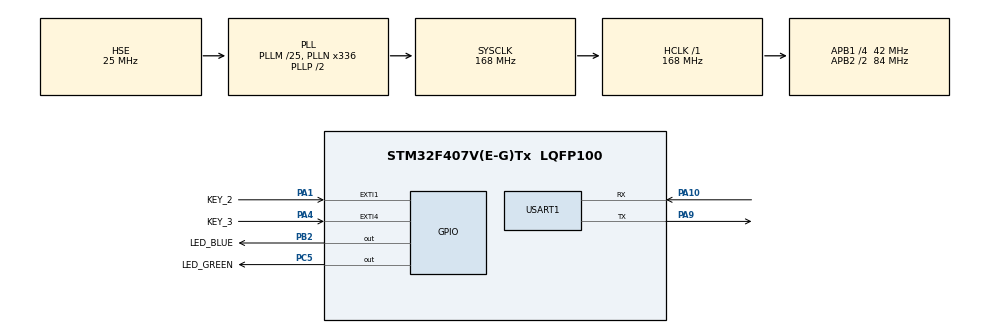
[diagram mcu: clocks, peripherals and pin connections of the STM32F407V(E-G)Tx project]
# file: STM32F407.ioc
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Mcu.Family=STM32F4
Mcu.Name=STM32F407V(E-G)Tx
Mcu.Package=LQFP100
NVIC.EXTI1_IRQn=true\:0\:0\:false\:false\:true\:true\:true\:true
NVIC.EXTI4_IRQn=true\:0\:0\:false\:false\:true\:true\:true\:true
NVIC.PriorityGroup=NVIC_PRIORITYGROUP_4
NVIC.RTC_Alarm_IRQn=true\:0\:0\:false\:false\:true\:true\:true\:true
PA0-WKUP.Mode=SYS_WakeUp0
PA0-WKUP.Signal=SYS_WKUP
PA1.GPIO_Label=KEY_2
PA1.GPIO_ModeDefaultEXTI=GPIO_MODE_IT_FALLING
PA1.GPIO_PuPd=GPIO_PULLUP
PA1.Signal=GPXTI1
PA10.Mode=Asynchronous
PA10.Signal=USART1_RX
PA13.Mode=Serial_Wire
PA13.Signal=SYS_JTMS-SWDIO
PA14.Mode=Serial_Wire
PA14.Signal=SYS_JTCK-SWCLK
PA4.GPIO_Label=KEY_3
PA4.GPIO_ModeDefaultEXTI=GPIO_MODE_IT_FALLING
PA4.GPIO_PuPd=GPIO_PULLUP
PA4.Signal=GPXTI4
PA9.Mode=Asynchronous
PA9.Signal=USART1_TX
PB2.GPIO_Label=LED_BLUE
PB2.Signal=GPIO_Output
PB8.Signal=CAN1_RX
PB9.Signal=CAN1_TX
PC14-OSC32_IN.Mode=LSE-External-Oscillator
PC14-OSC32_IN.Signal=RCC_OSC32_IN
PC15-OSC32_OUT.Mode=LSE-External-Oscillator
PC15-OSC32_OUT.Signal=RCC_OSC32_OUT
PC5.GPIO_Label=LED_GREEN
PC5.Signal=GPIO_Output
PH0-OSC_IN.Mode=HSE-External-Oscillator
PH0-OSC_IN.Signal=RCC_OSC_IN
PH1-OSC_OUT.Mode=HSE-External-Oscillator
PH1-OSC_OUT.Signal=RCC_OSC_OUT
ProjectManager.HeapSize=0x200
ProjectManager.StackSize=0x1000
ProjectManager.TargetToolchain=MDK-ARM V5.32
RCC.48MHZClocksFreq_Value=84000000
RCC.AHBFreq_Value=168000000
RCC.APB1CLKDivider=RCC_HCLK_DIV4
RCC.APB1Freq_Value=42000000
RCC.APB1TimFreq_Value=84000000
RCC.APB2CLKDivider=RCC_HCLK_DIV2
RCC.APB2Freq_Value=84000000
RCC.APB2TimFreq_Value=168000000
RCC.CortexFreq_Value=168000000
RCC.HCLKFreq_Value=168000000
RCC.HSE_VALUE=25000000
RCC.HSI_VALUE=16000000
RCC.PLLM=25
RCC.PLLN=336
RCC.PLLSourceVirtual=RCC_PLLSOURCE_HSE
RCC.RCC_RTC_Clock_SourceVirtual=RCC_RTCCLKSOURCE_LSE
RCC.RCC_RTC_Clock_Source_FROM_HSE=RCC_RTCCLKSOURCE_HSE_DIV25
RCC.SYSCLKFreq_VALUE=168000000
RCC.SYSCLKSource=RCC_SYSCLKSOURCE_PLLCLK
RCC.VCOOutputFreq_Value=336000000
RTC.Alarm=RTC_ALARM_A
RTC.Alarm_B=RTC_ALARM_B
RTC.Format=RTC_FORMAT_BCD
USART1.VirtualMode=VM_ASYNC
VP_RTC_VS_RTC_Activate.Mode=RTC_Enabled
VP_RTC_VS_RTC_Alarm_A_Intern.Mode=Alarm A
VP_RTC_VS_RTC_Alarm_B_Intern.Mode=Alarm B
VP_RTC_VS_RTC_Calendar.Mode=RTC_Calendar
board=custom

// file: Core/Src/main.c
/* USER CODE BEGIN Header */
/***********************************************************************************************************************************
 ** 【代码编写】  魔女开发板团队
 ** 【淘    宝】  魔女开发板       https://demoboard.taobao.com
 ***********************************************************************************************************************************
 ** 【实验名称】  STM32F407 低功耗模式 —— 停止模式 Stop
 **
 ** 【适用平台】  STM32F407 + keil5 + HAL库
 **
 ** 【 CubeMX 】  1- 使用CubeMX开启RTC（LSE时钟），用于闹钟唤醒；
 **               2- 开启USART1，用于调试打印、时间配置；
 **               3- 配置按键GPIO为输入/中断模式，用于触发进入低功耗；
 **               4- 系统时钟配置为外部HSE+PLL，最高168MHz；
 **
 ** 【功能说明】  本工程完整实现 STM32 三种低功耗模式：
 **               1- Sleep 睡眠模式：CPU暂停，外设运行，任意中断可唤醒；
 **               2- Stop  停机模式：CPU/外设停止，内存保持，RTC/EXTI唤醒；
 **               3- Standby待机模式：内核断电，内存丢失，RTC/PA0唤醒，唤醒后复位；
 **
 ** 【唤醒方式】  Sleep：任意中断（GPIO、UART、RTC、Systick等）
 **               Stop：EXTI外部中断、RTC闹钟事件
 **               Standby：RTC闹钟、WAKEUP引脚（PA0上升沿）
 **
 ** 【代码使用】  1- RTC日历配置：支持串口发送时间字符串自动校准；
 **               2- RTC闹钟A/B：闹钟A固定时间触发，闹钟B延时N秒触发；
 **               3- 低功耗函数：EnterSleepMode、EnterStopMode、EnterStandbyMode；
 **               4- 唤醒判断：通过 PWR_FLAG_SB 标志判断是否从Standby唤醒；
 **               5- 按键功能：KEY2进入Sleep，KEY3进入Standby；
 **
 ** 【划 重 点】  1- Sleep 模式唤醒最快，功耗最高，可被任何中断唤醒；
 **               2- Stop  模式唤醒后必须重新配置系统时钟，否则时钟异常；
 **               3- Standby模式功耗最低，唤醒后程序复位从头执行；
 **               4- 进入Standby前必须清除唤醒标志，否则无法正常进入；
 **               5- Standby唤醒 = 系统复位，不执行中断回调，直接跑main；
 **               6- IWDG/NRST均为复位，不属于低功耗唤醒；
 **
 *******************************************************************************/
/* USER CODE END Header */
#include "main.h"
#include "rtc.h"
#include "usart.h"
#include "gpio.h"

/* USER CODE BEGIN Includes */

#include "bsp_UART.h"            // 串口通信底层驱动文件; 已重写好初始化、收发，调用函数即可使用串口

/* USER CODE END Includes */

/* USER CODE BEGIN PV */

uint8_t wakeUpFlag = 0;    // 唤醒标志; 0-无任务、1-已唤醒，按需执行任务

/* USER CODE END PV */

void SystemClock_Config(void);

/* USER CODE BEGIN 0 */

/******************************************************************************
 * 函  数： RTC_SetNewData
 * 功  能： 设置RTC的时间和日期（严格遵循“先时间后日期”的操作顺序）
 * 说  明： 1. 操作前需解锁后备域；
 *          2. CubeMX默认以2000年为RTC年份基准，需做偏移处理；
 *          3. 中国不实行夏令时，相关参数固定为NONE；
 * 参  数： uint16_t  year    实际年份（2000-2127，超出范围则报错）
 *          uint8_t   month   月份（1-12）
 *          uint8_t   date    日期（1-31）
 *          uint8_t   hours   小时（0-23，24小时制）
 *          uint8_t   minutes 分钟（0-59）
 *          uint8_t   seconds 秒数（0-59）
 *          uint8_t   weekday 星期（1=周一，2=周二，…，7=周日）
 * 返回值： 无
 ******************************************************************************/
void RTC_SetNewData(uint16_t year, uint8_t month, uint8_t date, uint8_t hours, uint8_t minutes, uint8_t seconds, uint8_t weekday)
{
    /* 定义RTC时间、日期结构体 */
    RTC_TimeTypeDef sTime = {0};                                     // 时间结构体 (时/分/秒)
    RTC_DateTypeDef sDate = {0};                                     // 日期结构体 (年/月/日/星期)
    /* 检查参数合法性 */
    if ((year < 2000) || (year > 2127) || (month < 1) || (month > 12) || (date < 1) || (date > 31) ||
            (hours > 23) || (minutes > 59) || (seconds > 59) || (weekday < 1) || (weekday > 7))
    {
        printf("日历配置函数：参数非法，退出本次设置。\r\n");        // 打印 非法参数
        return;                                                      // 非法参数直接退出，不执行后续配置
    }
    /* 配置时间; RTC强制要求：先写时间，后写日期 */
    sTime.Hours = hours;                                             // 时; 注意小时的格式，检查MX_RTC_Init()函数里的HourFormat参数，有24小时、12小时两种格式
    sTime.Minutes = minutes;                                         // 分
    sTime.Seconds = seconds;                                         // 秒
    sTime.DayLightSaving = RTC_DAYLIGHTSAVING_NONE;                  // 关闭夏令时。中国不实行夏令时，因此固定设置为NONE
    sTime.StoreOperation = RTC_STOREOPERATION_RESET;                 // 夏令时配套参数，固定为RESET
    if (HAL_RTC_SetTime(&hrtc, &sTime, RTC_FORMAT_BIN) != HAL_OK)    // 设置时间; RTC要求：先设置时间（必须顺序）
    {
        printf("RTC时间写入失败! \n");
        return;                                                      // 直接退出，不执行后续配置
    }
    /* 配置日期; 必须在时间写入后执行 */
    sDate.WeekDay = weekday;                                         // 星期：1-一、2-二、3-三、4-四、5-五、6-六、7-日
    sDate.Month = month;                                             // 月
    sDate.Date = date;                                               // 日
    sDate.Year = year - 2000;                                        // 年份偏移; CubeMX默认2000为基准, 需减去2000
    if (HAL_RTC_SetDate(&hrtc, &sDate, RTC_FORMAT_BIN) != HAL_OK)    // RTC要求：后设置日期（必须顺序）
    {
        printf("RTC日期写入失败! \n");
        return;                                                      // 直接退出，不执行后续配置
    }
    /* 写入标记值到备份寄存器，标记已配置过日历 */
    HAL_RTCEx_BKUPWrite(&hrtc, RTC_BKP_DR1, 0x01);                   // 备份寄存器1写入标志值。用于下次上电时判断是否已设置日历; 网上很多示例会用类似0x5A5A的值，原理是一样的，但0x5A5A容易被误解有特殊作用
    /* 打印提示 */
    printf("\nRTC日历数据写入成功！\r\n");                           // 打印 提示
}

/******************************************************************************
 * 函  数： RTC_ParseTimeString
 * 功  能： 解析固定格式的时间字符串，提取有效数据并更新RTC时间
 * 格  式： "YYYY年MM月DD日HH时MM分SS秒星期X"（如：2026年02月04日19时11分30秒星期三）
 * 约  定： 1. 字符串无空格、无换行，字段顺序/单位不可修改；
 *          2. 年4位、月/日/时/分/秒各2位，星期为中文单字（一/二/…/日）；
 *          3. 星期映射：一=1、二=2、三=3、四=4、五=5、六=6、日=7；
 * 参  数： const char* timeStr  待解析的时间字符串（串口接收的原始数据）
 * 返回值： 无
 * 异常处理：空指针/格式错误/星期非法 → 触发提示并退出，不执行更新
 ******************************************************************************/
void RTC_ParseTimeString(const char* timeStr)
{
    /* 空指针校验，避免程序崩溃 */
    if (timeStr == NULL)
    {
        printf("解释失败：输入字符串为空！ \r\n");      // 空字符串直接退出
        return;
    }
    /* 定义变量存储解析结果 */
    uint16_t year = 0;        // 年（4位，如2026）
    uint8_t month = 0;        // 月（2位，01-12）
    uint8_t date = 0;         // 日（2位，01-31）
    uint8_t hours = 0;        // 时（2位，00-23）
    uint8_t minutes = 0;      // 分（2位，00-59）
    uint8_t seconds = 0;      // 秒（2位，00-59）
    uint8_t weekday = 0;      // 星期（1-7，对应一-日）
    char weekStr[2] = {0};    // 存储星期中文单字
    /* 按固定格式解析字符串 */
    // %4hu：匹配4位无符号短整型（对应uint16_t）
    // %2hhu：匹配2位无符号字符（对应uint8_t）
    // %2s：匹配星期中文单字（适配GBK/UTF-8编码）
    int parseRet = sscanf(timeStr, "%4hu年%2hhu月%2hhu日%2hhu时%2hhu分%2hhu秒星期%2s",
                          &year, &month, &date, &hours, &minutes, &seconds, weekStr);
    /* 解析结果校验（正常应提取7个字段，否则格式不匹配） */
    if (parseRet != 7)
    {
        printf("解释失败：字符串格式错误! 请按示例格式发送：\n");  // 格式不匹配，进入错误处理
        printf("2026年03月05日15时45分00秒星期四 \n\n");           // 字符串格式，必须严格匹配
        return;
    }
    /* 中文星期转换为数字(匹配RTC_SetNewData参数) */
    if (strcmp(weekStr, "一") == 0)    weekday = 1;                // 中文“一”对应RTC星期1（周一）
    else if (strcmp(weekStr, "二") == 0)    weekday = 2;           // 中文“二”对应RTC星期2（周二）
    else if (strcmp(weekStr, "三") == 0)    weekday = 3;           // 中文“三”对应RTC星期3（周三）
    else if (strcmp(weekStr, "四") == 0)    weekday = 4;           // 中文“四”对应RTC星期4（周四）
    else if (strcmp(weekStr, "五") == 0)    weekday = 5;           // 中文“五”对应RTC星期5（周五）
    else if (strcmp(weekStr, "六") == 0)    weekday = 6;           // 中文“六”对应RTC星期6（周六）
    else if (strcmp(weekStr, "日") == 0)    weekday = 7;           // 中文“日”对应RTC星期7（周日）
    else                                                           // 未知星期字符，解析失败
    {
        printf("\n解释失败，星期格式错误！\r\n ");
        return;
    }
    /* 解析成功，调用函数更新RTC时间 */
    RTC_SetNewData(year, month, date, hours, minutes, seconds, weekday);
}

/******************************************************************************
 * 函  数： RTC_SetAlarmA
 * 功  能： 配置 RTC 闹钟A
 *          指定具体时间触发 (如 6:34:00); 适合场景：定时唤醒等。
 * 参  数： uint8_t hours  闹钟小时 0~23
 *          uint8_t mins   闹钟分钟 0~59
 *          uint8_t secs   闹钟秒数 0~59
 * 返回值： HAL_StatusTypeDef  HAL状态
 * 备  注： 最后修改_2026年03月17日
 ******************************************************************************/
HAL_StatusTypeDef RTC_SetAlarmA(uint8_t hours, uint8_t mins, uint8_t secs)
{
    /* 声明结构体 */
    RTC_AlarmTypeDef sAlarm = {0};                                                   // 闹钟配置结构体
    /* 关闭闹钟A */
    HAL_RTC_DeactivateAlarm(&hrtc, RTC_ALARM_A);                                     // 关闭闹钟; 必须先关闭再配置
    /* 配置闹钟A参数 */
    sAlarm.AlarmTime.Hours = hours;                                                  // 闹钟 小时
    sAlarm.AlarmTime.Minutes = mins;                                                 // 闹钟 分钟
    sAlarm.AlarmTime.Seconds = secs;                                                 // 闹钟 秒数
    sAlarm.AlarmTime.DayLightSaving = RTC_DAYLIGHTSAVING_NONE;                       // 无夏令时(中国不实行夏令时)
    sAlarm.AlarmTime.StoreOperation = RTC_STOREOPERATION_RESET;                      // 复位操作(固定此值即可)
    sAlarm.AlarmDateWeekDaySel = RTC_ALARMDATEWEEKDAYSEL_DATE;                       // 日期/星期模式切换。DATE-日期、WEEK-星期
    sAlarm.AlarmDateWeekDay = 1;                                                     // (被屏蔽了, 此值无效）sAlarm.AlarmDateWeekDay 是一个二义性字段，它的含义完全由 sAlarm.AlarmDateWeekDaySel 决定; 指每周/每月的是第几天
    sAlarm.AlarmMask =  RTC_ALARMMASK_DATEWEEKDAY ;                                  // 闹钟屏蔽位: 屏蔽日期/星期，只匹配时分秒，即每天触发
    sAlarm.Alarm = RTC_ALARM_A;                                                      // 配置的是: 闹钟A
    /* 设置闹钟、开启中断 */
    if (HAL_RTC_SetAlarm_IT(&hrtc, &sAlarm, RTC_FORMAT_BIN) != HAL_OK)               // 设置闹钟A并开启中断，失败则执行错误处理
    {
        printf("闹钟A 设置失败！ \r\n");                                             // 打印 错误提示
        return HAL_ERROR;                                                            // 返回 错误标志
    }
    else
    {
        printf("闹钟A 设置成功！ 触发时间：%02d:%02d:%02d \n", hours, mins, secs);   // 打印 闹钟提示
        return HAL_OK;                                                               // 返回 正常标志
    }
}

/******************************************************************************
 * 函  数： RTC_SetAlarmB
 * 功  能： 配置 RTC 闹钟B
 *          相对时间闹钟（当前时间N秒后触发）
 * 参  数： uint32_t secs: 相对当前时间的秒数 0~2592000（最大30天）
 * 返回值： HAL_StatusTypeDef  HAL状态
 * 备  注： 最后修改_2026年03月17日
 ******************************************************************************/
HAL_StatusTypeDef  RTC_SetAlarmB(uint32_t secs)
{
    /* 声明结构体  */
    RTC_TimeTypeDef sTime = {0};                                             // 时间结构体（时/分/秒）
    RTC_DateTypeDef sDate = {0};                                             // 日期结构体（年/月/日/周）
    RTC_AlarmTypeDef sAlarm = {0};                                           // 闹钟配置结构体
    /* 关闭闹钟B */
    HAL_RTC_DeactivateAlarm(&hrtc, RTC_ALARM_B);                             // 关闭闹钟; 必须先关闭再配置
    /* 获取当前RTC时间和日期 */
    HAL_RTC_GetTime(&hrtc, &sTime, RTC_FORMAT_BIN);                          // 读取当前RTC的时间; 必须读日期，否则时间锁存不更新
    HAL_RTC_GetDate(&hrtc, &sDate, RTC_FORMAT_BIN);                          // 读取当前RTC的日期; 必须读日期，否则时间锁存不更新
    /* 计算目标闹钟时间（时间戳转换，处理时分秒进位）*/
    uint32_t nowSecs = sTime.Hours * 3600 + sTime.Minutes * 60 + sTime.Seconds;
    uint32_t alarm_secs = nowSecs + secs;
    uint8_t hh = (alarm_secs / 3600) % 24;
    uint8_t mm = (alarm_secs % 3600) / 60;
    uint8_t ss = alarm_secs % 60;
    /* 配置闹钟B参数 */
    sAlarm.AlarmTime.Hours = hh;                                             // 闹钟 小时
    sAlarm.AlarmTime.Minutes = mm;                                           // 闹钟 分钟
    sAlarm.AlarmTime.Seconds = ss;                                           // 闹钟 秒数
    sAlarm.AlarmTime.DayLightSaving = RTC_DAYLIGHTSAVING_NONE;               // 无夏令时(中国不实行夏令时)
    sAlarm.AlarmTime.StoreOperation = RTC_STOREOPERATION_RESET;              // 复位操作(固定此值即可)
    sAlarm.AlarmDateWeekDaySel = RTC_ALARMDATEWEEKDAYSEL_DATE;               // 选择日期/星期模式;新手最易混淆点。DATE=每月中的第几天、WEEKDAY=每星期中的第几天。
    sAlarm.AlarmDateWeekDay = sDate.Date;                                    // (被屏蔽了）sAlarm.AlarmDateWeekDay 是一个二义性字段，它的含义完全由 sAlarm.AlarmDateWeekDaySel 决定; 指每周/每月的是第几天
    sAlarm.AlarmMask = RTC_ALARMMASK_DATEWEEKDAY ;                           // 闹钟屏蔽位; 屏蔽日期/星期，只匹配时分秒，即每天触发
    sAlarm.Alarm = RTC_ALARM_B;                                              // 配置的是: 闹钟B
    /* 设置闹钟并开启中断 */
    if (HAL_RTC_SetAlarm_IT(&hrtc, &sAlarm, RTC_FORMAT_BIN) != HAL_OK)       // 设置闹钟B并开启中断，失败则执行错误处理
    {
        printf("闹钟B 设置失败！ \r\n");                                     // 打印 错误提示
        return HAL_ERROR;                                                    // 返回 错误标志
    }
    else
    {
        printf("闹钟B 设置成功！ %2d秒后触发。 \r\n", secs);                 // 打印 触发时间
        return HAL_OK;                                                       // 返回 正常标志
    }
}

/******************************************************************************
 * 函  数： HAL_RTC_AlarmAEventCallback
 * 功  能： RTC 闹钟 A 中断回调函数
 * 说  明： 1. 闹钟B触发时自动调用
 *          2. 函数名固定，必须不带 Ex (与闹钟B中断回调函数不同)
 * 参  数： hrtc：RTC句柄
 * 返回值： 无
 * 备  注： 最后修改_2026年03月17日
 ******************************************************************************/
void HAL_RTC_AlarmAEventCallback(RTC_HandleTypeDef *hrtc)
{
    /* 执行闹钟任务操作 */
    printf("闹钟A 触发！！ \r\n");

    /* 如需每天相同时间执行，无需重新设置，因为AlarmA的配置是每天都能触发 */
    // RTC_SetAlarmA(6,30,00);
}

/******************************************************************************
 * 函  数： HAL_RTCEx_AlarmBEventCallback
 * 功  能： RTC 闹钟B 中断回调函数
 * 说  明： 1. 闹钟B触发时自动调用
 *          2. 函数名固定，闹钟B必须带 Ex (与闹钟A中断回调函数不同)
 *          3. 如需循环触发，必须重新执行 RTC_SetAlarmB()
 * 参  数： hrtc：RTC句柄
 * 返回值： 无
 * 备  注： 最后修改_2026年03月17日
 ******************************************************************************/
void HAL_RTCEx_AlarmBEventCallback(RTC_HandleTypeDef *hrtc)
{
    /* Stop被唤醒后：重新配置系统时钟，这一步至关重要！ */
    // 调用 CubeMX 生成的系统时钟配置函数，恢复为 168MHz 主频 */
    SystemClock_Config();                                                       // 配置系统时钟，重新运行于168MHz

    /* 闹钟触发提示 */
    printf("闹钟B 中断触发！！ \r\n");                                          // 打印提示

    /* 读取 RTC 时间日期 */
    RTC_TimeTypeDef time = { 0 };                                               // 时间 时-分-秒
    RTC_DateTypeDef data = { 0 };                                               // 日期 年-月-日
    HAL_RTC_GetTime(hrtc, &time, RTC_FORMAT_BIN);                               // 读取时间数据; 必须先读时间后读日期; 写操作时，也必须先写时间后写日期，否则数据可能错乱
    HAL_RTC_GetDate(hrtc, &data, RTC_FORMAT_BIN);                               // 读取日期数据; 必须先读时间后读日期; 写操作时，也必须先写时间后写日期，否则数据可能错乱

    /* 打印 时间日期，便于观察调试 */
    printf("当前时间： ");
    printf("%04d年%02d月%02d日  ", 2000 + data.Year, data.Month, data.Date);    // 打印 日期
    printf("%02d:%02d:%02d  \r\n", time.Hours, time.Minutes, time.Seconds);     // 打印 时间

    /* 【关键】设置唤醒标志，通知主循环执行任务 */
    wakeUpFlag = 1;                                                             // 设置唤醒标志，通知主循环执行任务

}

/******************************************************************************
 * 函  数： EnterSleepMode
 * 功  能： 进入 SLEEP 低功耗模式
 * 说  明： 1. CPU 暂停运行
 *          2. 外设、时钟、内存、寄存器数据全部保持
 *          3. 可被任意中断唤醒（RTC、UART、GPIO、EXTI 等）
 *          4. 唤醒后先执行中断服务函数，再继续执行休眠后的代码
 *          5. 无法进入休眠时，优先检查是否未关闭 SysTick 等频繁中断
 * 参  数： 无
 * 返回值： 无
 * 备  注： 最后修改_2026年03月24日
 ******************************************************************************/
void EnterSleepMode(void)
{
    // 打印提示
    printf("\r\n\r\n");                                                  // 打印 换行
    printf("① 即将进入 SLeep 模式！ ========== \r\n");                   // 打印 提示

    /* 配置RTC闹钟 5秒后触发 */
    RTC_SetAlarmB(5);                                                    // 设置RTC的闹钟B, 5秒后触发一次

    /* 进入前：关闭可能频繁唤醒的中断源 */
    HAL_SuspendTick();                                                   // 关闭Systick中断。注意，SLEEP会被任何一个中断唤醒，如Systick中断、UART收发中断、CAN收发中断等等

    /* 进入 SLEEP 模式：CPU暂停在此处 */
    HAL_PWR_EnterSLEEPMode(PWR_MAINREGULATOR_ON, PWR_SLEEPENTRY_WFI);    // 能被所有中断唤醒，包括Systick、UART、RTC闹钟等; 唤醒后，先进入所唤醒的中断，然后继续执行下一行

    /* 唤醒后：恢复中断源 */
    HAL_ResumeTick();                                                    // 恢复Systick中断

    // 打印提示
    printf("② 已退出 SLEEP 模式！\r\n");                                 // 打印 提示 退出SLEEP模式
}

/******************************************************************************
 * 函  数： EnterStopMode
 * 功  能： 进入 STOP 低功耗模式
 * 说  明： 1. CPU、外设停止工作，主时钟关闭
 *          2. 内存/寄存器数据保持
 *          3. 可被任意EXTI中断或RTC事件唤醒
 *          4. 唤醒后，系统时钟工作在HSI(8MHz), 必须重新配置系统时钟（HSE/PLL），否则后续代码无法正常运行
 *          5. 无需重新初始化外设（UART、SPI等）
 *          6. 特别地注意：
 *             按芯片手册所描述，STOP模式是不能被外设中断唤醒的，如systick、UART、SPI等。
 *             但是有一个特殊情况：
 *             如果进入STOP模式时SysTick中断是使能的，并且DBG_STOP位在DBGMCU_CR中被置位(启用了Stop模式调试)，系统会立即从 STOP 模式唤醒。
 *             至于DBG_STOP为什么会被置位？当连接着调试器时，可能会自动或间接地改变DBGMCU_CR中DBG_STOP位的状态。
 *             这是WFI指令的工作机制 + 调试模式下的硬件限制共同作用的结果。
 *             因此，为了避免意外情况，进入低功耗前关闭 SysTick 是最佳选择。
 * 参  数： 无
 * 返回值： 无
 * 备  注： 最后修改_2026年03月24日
 ******************************************************************************/
void EnterStopMode(void)
{
    // 打印提示
    printf("\r\n\r\n");                                                  // 打印 换行
    printf("① 即将进入 STOP 模式！========== \r\n");                     // 打印 提示

    /* 配置RTC闹钟 5秒后触发 */
    RTC_SetAlarmB(5);                                                    // 设置RTC的闹钟B, 5秒后触发一次

    /* 进入前：关闭可能频繁唤醒的中断源 */
    HAL_SuspendTick();                                                   // 关闭SysTick中断，避免意外唤醒

    /* 进入STOP模式：CPU暂停在此处 */
    // 执行完此函数后，系统时钟（HSE/PLL）已停止，MCU处于低功耗状态。
    // 被中断唤醒后，程序会跳进中断函数执行，再回到此函数继续执行下一行。
    HAL_PWR_EnterSTOPMode(PWR_LOWPOWERREGULATOR_ON, PWR_STOPENTRY_WFI);  // 进入STOP模式; 参数：PWR_LOWPOWERREGULATOR_ON  更低的静态功耗，PWR_STOPENTRY_WFI 等待中断唤醒

    /* 唤醒后：重新配置系统时钟，这一步至关重要！ */
    SystemClock_Config();                                                // 调用CubeMX生成的系统时钟配置函数，恢复为168MHz主频

    /* 唤醒后：恢复中断源 */
    HAL_ResumeTick();                                                    // 恢复Systick中断

    // 打印提示
    printf("② 已退出 STOP 模式！\r\n");                                  // 打印 提示 退出STOP模式
}

/******************************************************************************
 * 函  数： EnterStandbyMode
 * 功  能： 进入 STANDBY 待机模式
 * 说  明： 1. 内核电源关闭，内存、寄存器数据丢失（备份域除外）
 *          2. 唤醒后系统复位，程序从 main 函数重新执行
 *          3. 进入前需清除 PWR 唤醒标志，否则可能无法进入
 *          4. 仅两种合法唤醒方式： RTC闹钟、 WAKEUP引脚(PA0上升沿)
 * 参  数： 无
 * 返回值： 无
 * 备  注： 最后修改_2026年03月25日
 ******************************************************************************/
void EnterStandbyMode(void)
{
    /* 打印提示 */
    printf("\r\n");                                            // 打印 换行
    printf("① 即将进入 Standby 待机模式！ \r\n");              // 打印 提示

    /* 开启 PWR 时钟 */
    __HAL_RCC_PWR_CLK_ENABLE();                                //开启PWR时钟; (新版本HAL库不再需要手动开启)

    /* 清除相关标志 */
    __HAL_PWR_CLEAR_FLAG(PWR_FLAG_WU);                         // 清除唤醒标志 (关键)
    __HAL_PWR_CLEAR_FLAG(PWR_FLAG_SB);                         // 清除待机标志 (建议)

    /* 配置唤醒源 */
    RTC_SetAlarmB(5);                                          // 设置RTC的闹钟B, 5秒后触发一次
    HAL_PWR_EnableWakeUpPin(PWR_WAKEUP_PIN1);                  // 使能WAKEUP引脚 (PA0上升沿触发）

    /* 进入 STANDBY 待机模式 */
    HAL_PWR_EnterSTANDBYMode();                                // 进入 Standby 模式

    /* 注意：以下代码永远不会被执行。唤醒后是复位重启 */
    printf("② 此行永远不会执行！\r\n");
}

/* USER CODE END 0 */

int main(void)
{
    /* USER CODE BEGIN 1 */

    /* 说明：
     * 1. 不要删除CubeMX生成的注释行（形如 USER CODE BEGIN/END），这些注释用于代码重新生成时的定位
     * 2. 所有用户自定义代码必须写在对应的BEGIN与END注释行之间，否则重新生成时会被覆盖
     * 3. 主要初始化函数说明：
     *    - HAL_Init()            初始化HAL库，配置中断优先级、系统时基等
     *    - SystemClock_Config()  配置系统时钟
     *    - MX_GPIO_Init()        初始化GPIO引脚（仅包含推挽输出、中断触发等配置）
     *    - 外设功能引脚（如UART、SPI等）的初始化在各自的功能文件中
     */

    /* USER CODE END 1 */

    /* MCU Configuration--------------------------------------------------------*/

    /* Reset of all peripherals, Initializes the Flash interface and the Systick. */
    HAL_Init();

    /* Configure the system clock */
    SystemClock_Config();

    /* Initialize all configured peripherals */
    MX_GPIO_Init();
    MX_USART1_UART_Init();
    MX_RTC_Init();
    /* USER CODE BEGIN 2 */
    /* 用户代码，必须写在配对的BEGIN与END之间 */

    UART1_Init(115200);                           // 初始化 串口1; 已写好底层，调用h中的函数即可使用; 引脚(PA9 +PA10)、波特率-None-8-1; 如果使用CubeMX配置，请使用前述引脚，但，不要在MX上进行中断及DMA配置，否则冲突

    /* USER CODE END 2 */

    /* Infinite loop */
    while (1)
    {

        /* USER CODE BEGIN 3 */
        /* 用户代码，必须写在配对的BEGIN与END之间 */

        /** 检查是否被唤醒 **/
        if (wakeUpFlag == 1)                                                             // 唤醒
        {
            printf("③ 唤醒后执行任务...!");                                              // 执行各种任务，如, 读取温度, 电机动作 等
            wakeUpFlag = 0;                                                              // 唤醒标志 置0，等待下一次唤醒
        }
        else                                                                             // 无任务时进入睡眠，降低功耗
        {
            EnterStopMode();                                                             // 进入 STOP 停止模式
        }

        /** 检查UART1是否收到串口助手发来的数据，用于更新日期时间 **/
        if (UART1_GetRxNum())                                                            // 判断USART1是否获取到新一帧数据：函数返回的接收字节数，大于0，即为收到新一帧数据
        {
            /* 获取数据 */
            uint8_t *rxData = UART1_GetRxData();                                         // 获取数据的地址
            uint16_t rxNum = UART1_GetRxNum();                                           // 获取数据的字节数
            /* 把收到的数据，printf到串口助手观察*/
            printf("\r<<<<< USART1 收到一帧数据 \r");                                    // 提示
            printf("字节数：%d \r", rxNum);                                              // 显示字节数
            printf("ASCII : %s\r", (char *)rxData);                                      // 显示数据，以ASCII方式显示，即以字符串的方式显示
            printf("\r\r");                                                              // 显示换行
            /* 执行数据分析 */
            RTC_ParseTimeString((const char*) rxData);                                   // 解释日历时间，并更新保存
            /* 清零接收标志 */
            UART1_ClearRx();                                                             // 重要：清0接收标志，即清0接收到的字节数; 每次处理完成数据，就要调用这个函数清0
        }

        /** 每隔500ms，闪烁一次绿色LED **/
        static uint32_t lastTime_500ms = 0;                                              // 定义静态变量，用于记录上次执行这个任务的时间点(单位：毫秒)
        if (HAL_GetTick() - lastTime_500ms >= 500)                                       // 检查当前时间距离上次执行是否已经过了500ms; HAL_GetTick()是获取启动后经过的毫秒数;
        {
            /* 执行任务 */
            HAL_GPIO_TogglePin(GPIOC, GPIO_PIN_5);                                       // 执行动作。控制绿色LED引脚电平翻转(PC5); 规律地闪烁LED，方便外部观察系统是否正常运行
            /* 更新任务时间戳 */
            lastTime_500ms =   HAL_GetTick();                                            // 更新本任务最后执行的时间值
        }

        /** 每隔1000ms，读取一次日历数据，并打印 **/
        static uint32_t lastTime_1000ms = 0;                                             // 定义静态变量，用于记录上次执行这个任务的时间点(单位：毫秒)
        if (HAL_GetTick() - lastTime_1000ms >= 1000)                                     // 检查当前时间距离上次执行是否已经过了1000ms; HAL_GetTick()是获取启动后经过的毫秒数;
        {
            /* 读取数据; 重点, 必须先读时间、后读日期 否则数据错乱 */
            RTC_TimeTypeDef time = { 0 };                                                // 时间 时-分-秒
            RTC_DateTypeDef data = { 0 };                                                // 日期 年-月-日
            HAL_RTC_GetTime(&hrtc, &time, RTC_FORMAT_BIN);                               // 读取时间数据; 必须先读时间后读日期; 写操作时，也必须先写时间后写日期，否则数据可能错乱
            HAL_RTC_GetDate(&hrtc, &data, RTC_FORMAT_BIN);                               // 读取日期数据; 必须先读时间后读日期; 写操作时，也必须先写时间后写日期，否则数据可能错乱
            /* 打印数据 */
            printf("%04d年%02d月%02d日  ", 2000 + data.Year, data.Month, data.Date);     // 打印 日期
            printf("%02d:%02d:%02d  ", time.Hours, time.Minutes, time.Seconds);          // 打印 时间
            switch (data.WeekDay)                                                        // 打印 星期
            {
                case 1:
                    printf("星期一");
                    break;
                case 2:
                    printf("星期二");
                    break;
                case 3:
                    printf("星期三");
                    break;
                case 4:
                    printf("星期四");
                    break;
                case 5:
                    printf("星期五");
                    break;
                case 6:
                    printf("星期六");
                    break;
                case 7:
                    printf("星期日");
                    break;
                default:
                    printf("星期错误");
                    break;
            }
            printf("  \r\n");                                                            // 打印 换行
            /* 更新任务时间戳 */
            lastTime_1000ms = HAL_GetTick();                                             // 更新时间戳：将当前时间设为新基准，确保下一次周期准确从此时开始计算
        }

    }

    /* USER CODE END 3 */
}

void SystemClock_Config(void)
{
    RCC_OscInitTypeDef RCC_OscInitStruct = {0};
    RCC_ClkInitTypeDef RCC_ClkInitStruct = {0};

    /** Configure the main internal regulator output voltage
    */
    __HAL_RCC_PWR_CLK_ENABLE();
    __HAL_PWR_VOLTAGESCALING_CONFIG(PWR_REGULATOR_VOLTAGE_SCALE1);

    /** Initializes the RCC Oscillators according to the specified parameters
    * in the RCC_OscInitTypeDef structure.
    */
    RCC_OscInitStruct.OscillatorType = RCC_OSCILLATORTYPE_HSE | RCC_OSCILLATORTYPE_LSE;
    RCC_OscInitStruct.HSEState = RCC_HSE_ON;
    RCC_OscInitStruct.LSEState = RCC_LSE_ON;
    RCC_OscInitStruct.PLL.PLLState = RCC_PLL_ON;
    RCC_OscInitStruct.PLL.PLLSource = RCC_PLLSOURCE_HSE;
    RCC_OscInitStruct.PLL.PLLM = 25;
    RCC_OscInitStruct.PLL.PLLN = 336;
    RCC_OscInitStruct.PLL.PLLP = RCC_PLLP_DIV2;
    RCC_OscInitStruct.PLL.PLLQ = 4;
    if (HAL_RCC_OscConfig(&RCC_OscInitStruct) != HAL_OK)
    {
        Error_Handler();
    }

    /** Initializes the CPU, AHB and APB buses clocks
    */
    RCC_ClkInitStruct.ClockType = RCC_CLOCKTYPE_HCLK | RCC_CLOCKTYPE_SYSCLK
                                  | RCC_CLOCKTYPE_PCLK1 | RCC_CLOCKTYPE_PCLK2;
    RCC_ClkInitStruct.SYSCLKSource = RCC_SYSCLKSOURCE_PLLCLK;
    RCC_ClkInitStruct.AHBCLKDivider = RCC_SYSCLK_DIV1;
    RCC_ClkInitStruct.APB1CLKDivider = RCC_HCLK_DIV4;
    RCC_ClkInitStruct.APB2CLKDivider = RCC_HCLK_DIV2;

    if (HAL_RCC_ClockConfig(&RCC_ClkInitStruct, FLASH_LATENCY_5) != HAL_OK)
    {
        Error_Handler();
    }
}

/* USER CODE BEGIN 4 */
/* 所有用户代码，必须写在配对的BEGIN与END之间 */

/******************************************************************************
 * 函  数： HAL_GPIO_EXTI_Callback
 * 功  能： EXTI中断回调函数
 * 参  数： uint16_t  GPIO_Pin    引脚编号，参数范围：GPIO_Pin_0 ~ GPIO_Pin_15
 * 返回值： 无
 * 备  注： CubeMX生成的代码在思维和风格上，与使用标准库编写时有很大的区别：
 *          1：这个是回调函数，不是中断服务函数。完整的调用：EXTIx_IRQHandler() > HAL_GPIO_EXTI_IRQHandler(GPIO_PIN_x) > HAL_GPIO_EXTI_Callback(GPIO_PIN_x)
 *          2：必须使用这个函数名称，因为它在CubeMX生成时，已被写好了各种函数调用、函数弱定义(在stm32xx_hal_gpio.c的底部); 不建议在原弱定义中增添代码，而是重写本函数
 *          3：中断条件触发后，本函数被自动调用，无需进行人工调用; 也无需进行中断标志的清理，因为HAL_GPIO_EXTI_IRQHandler()函数中已有操作;
 *          4：生成的所有EXTI中断服务函数，都统一调用这个函数，以引脚编号作参数
 *          5：判断参数传进来的引脚编号，即可知道是哪个外部中断线产生的中断信号
******************************************************************************/
void HAL_GPIO_EXTI_Callback(uint16_t GPIO_Pin)
{
//    if (GPIO_Pin == KEY_1_Pin)                                  // 按键1 产生的中断信号：KEY_1、PA0、闲时下拉、按下时高电平、上升沿触发
//    {
//        HAL_GPIO_TogglePin(GPIOB, GPIO_PIN_2);                  // 反转蓝色LED灯
//        printf("KEY_1 按下\r");                                 // 通过串口助手输出提示
//    }

    if (GPIO_Pin == KEY_2_Pin)                                  // 按键2 产生的中断信号：KEY_2、PA1、闲时上拉、按下时低电平、下降沿触发
    {
        HAL_GPIO_TogglePin(GPIOB, GPIO_PIN_2);                  // 反转蓝色LED灯
        printf("KEY_2 按下\r");                                 // 通过串口助手输出提示
    }

    if (GPIO_Pin == KEY_3_Pin)                                  // 按键3 产生的中断信号：KEY_3、PA4、闲时上拉、按下低高电平、下降沿触发
    {
        HAL_GPIO_TogglePin(GPIOB, GPIO_PIN_2);                  // 反转蓝色LED灯
        printf("KEY_3 按下\r");                                 // 通过串口助手输出提示
    }

}

/* USER CODE END 4 */

void Error_Handler(void)
{
    __disable_irq();
    while (1)
    {
    }
}
